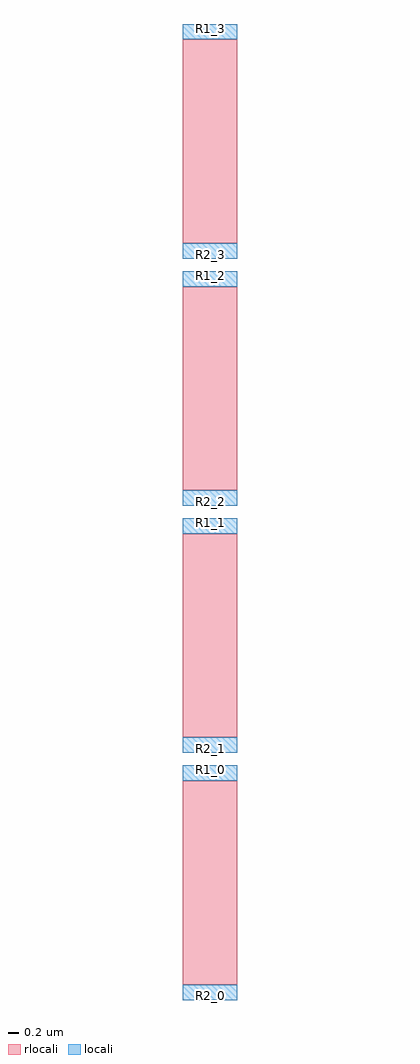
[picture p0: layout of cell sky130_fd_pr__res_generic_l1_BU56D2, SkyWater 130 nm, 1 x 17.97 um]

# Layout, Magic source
magic
tech sky130A
magscale 1 2
<< locali >>
rect -100 1740 100 1797
rect -100 933 100 990
rect -100 830 100 887
rect -100 23 100 80
rect -100 -80 100 -23
rect -100 -887 100 -830
rect -100 -990 100 -933
rect -100 -1797 100 -1740
<< rlocali >>
rect -100 990 100 1740
rect -100 80 100 830
rect -100 -830 100 -80
rect -100 -1740 100 -990
<< labels >>
rlabel locali 0 -950 0 -950 0 R1_0
port 1 nsew
rlabel locali 0 -1780 0 -1780 0 R2_0
port 2 nsew
rlabel locali 0 -40 0 -40 0 R1_1
port 3 nsew
rlabel locali 0 -870 0 -870 0 R2_1
port 4 nsew
rlabel locali 0 870 0 870 0 R1_2
port 5 nsew
rlabel locali 0 40 0 40 0 R2_2
port 6 nsew
rlabel locali 0 1780 0 1780 0 R1_3
port 7 nsew
rlabel locali 0 950 0 950 0 R2_3
port 8 nsew
<< properties >>
string gencell sky130_fd_pr__res_generic_l1
string library sky130
string parameters w 1.0 l 3.75 m 4 nx 1 wmin 0.17 lmin 0.17 class resistor rho 12.8 val 48.0 dummy 0 dw 0.0 term 0.0 snake 0 roverlap 0 doports 1
<< end >>
